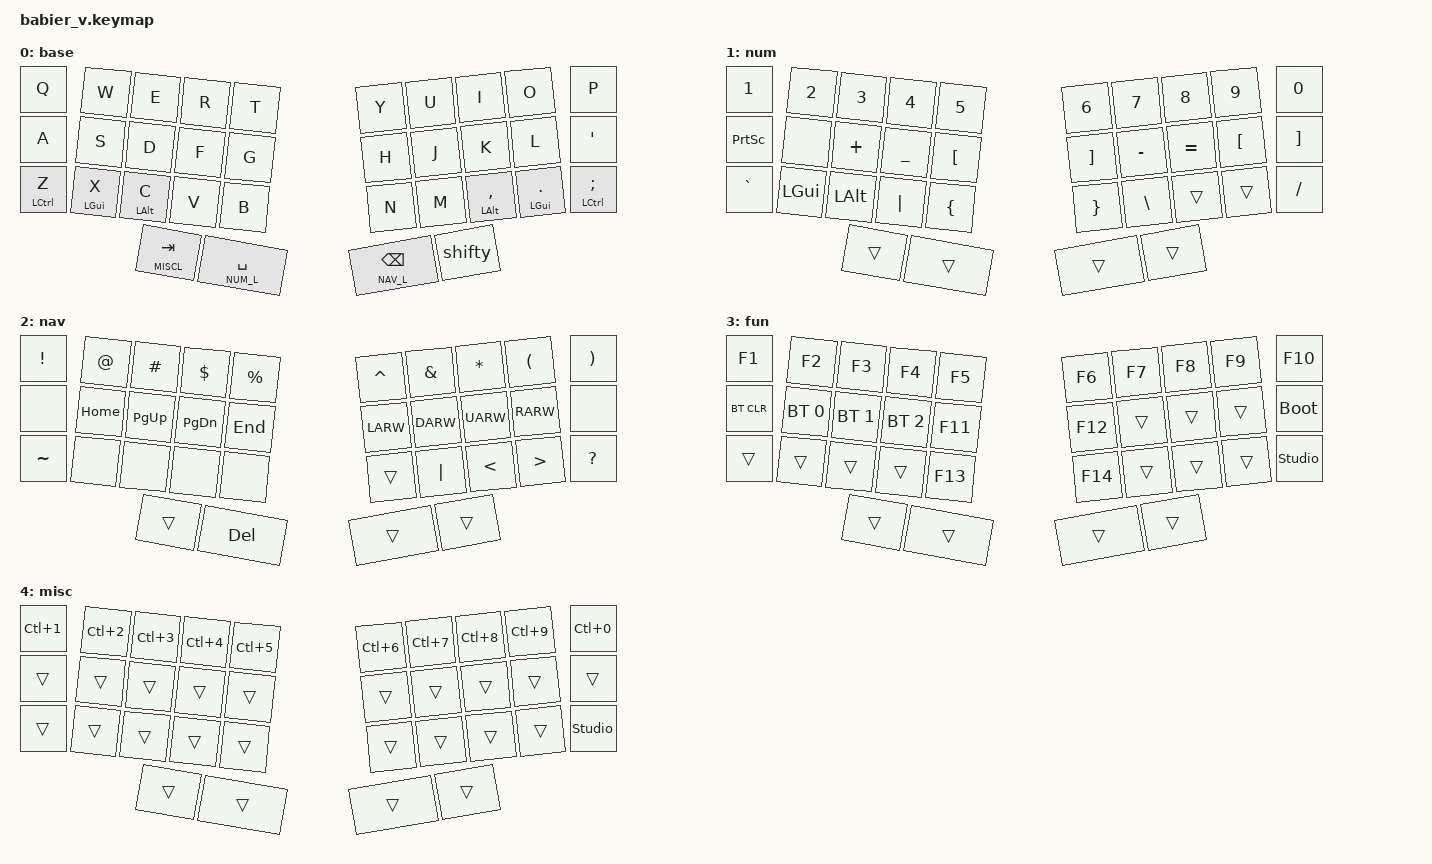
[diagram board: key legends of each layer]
#include <behaviors.dtsi>
#include <dt-bindings/zmk/keys.h>
#include <dt-bindings/zmk/bt.h>
#include <dt-bindings/zmk/outputs.h>

#define NUM_L 1
#define NAV_L 2
#define FUN_L 3
#define MISCL 4

&lt { quick_tap_ms = <200>; };

/ {
    
    tap_dances {
    	shifty: shift_caps_word {
		    compatible = "zmk,behavior-tap-dance";
		    label = "TD_SHIFTY";
		    #binding-cells = <0>;
		    tapping-term-ms = <150>;
		    bindings = <&kp LSHFT>, <&caps_word>;
	    };
    };

    combos {
        compatible = "zmk,combos";
        combo_esc {
            timeout-ms = <50>;
            key-positions = <0 1>;
            bindings = <&kp ESC>;
        };
        combo_enter {
            timeout-ms = <50>;
            key-positions = <17 18>;
            bindings = <&kp RET>;
        };
    };

    behaviors {
        brm: bottom_row_mods {
            compatible = "zmk,behavior-hold-tap";
            #binding-cells = <2>;
            tapping-term-ms = <200>;
            quick-tap-ms = <100>;
            flavor = "balanced";
            require-prior-idle-ms = <100>;
            bindings = <&kp>, <&kp>;
        };
    };

    cond_layers {
      compatible = "zmk,conditional-layers";
	    tri {
	      if-layers = <NUM_L NAV_L>;
	      then-layer = <FUN_L>;
      };
    };

    keymap {
        compatible = "zmk,keymap";

        default_layer { // Layer 0
            label = "base";
            bindings = <
                &kp Q       &kp W       &kp E       &kp R &kp T     &kp Y &kp U &kp I           &kp O         &kp P
                &kp A       &kp S       &kp D       &kp F &kp G     &kp H &kp J &kp K           &kp L         &kp SQT
                &brm LCTL Z &brm LGUI X &brm LALT C &kp V &kp B     &kp N &kp M &brm LALT COMMA &brm LGUI DOT &brm LCTL SEMI
                                  &lt MISCL TAB &lt NUM_L SPACE     &lt NAV_L BKSP &shifty
            >;
        };
        
        num_layer { // Number layer
            label = "num";
            bindings = <
                &kp N1      &kp N2   &kp N3      &kp N4    &kp N5    &kp N6   &kp N7    &kp N8    &kp N9    &kp N0
                &kp PSCRN   &none    &kp PLUS    &kp UNDER &kp LBKT  &kp RBKT &kp MINUS &kp EQUAL &kp LBKT  &kp RBKT
                &kp GRAVE   &kp LGUI &kp LALT   &kp PIPE   &kp LBRC  &kp RBRC &kp BSLH  &trans    &trans    &kp SLASH
                                                 &trans    &trans    &trans   &trans
            >;
        };

        nav_layer { // Navigation and symbol layer
          label = "nav";
          bindings = <
            &kp EXCL   &kp AT   &kp HASH  &kp DLLR  &kp PRCNT  &kp CARET &kp AMPS   &kp STAR  &kp LPAR   &kp RPAR
            &none      &kp HOME &kp PG_UP &kp PG_DN &kp END    &kp LARW  &kp DARW   &kp UARW  &kp RARW  &none
            &kp TILDE  &none    &none     &none     &none      &trans    &kp PIPE   &kp LT    &kp GT     &kp QMARK
                                                 &trans    &kp DEL    &trans   &trans
          >;
        };

        func_layer { // Function layer
          label = "fun";
          bindings = <
            &kp F1  &kp F2  &kp F3  &kp F4  &kp F5  &kp F6  &kp F7  &kp F8  &kp F9  &kp F10
            &bt BT_CLR  &bt BT_SEL 0  &bt BT_SEL 1  &bt BT_SEL 2  &kp F11 &kp F12 &trans  &trans  &trans  &bootloader
            &trans  &trans  &trans  &trans  &kp F13 &kp F14 &trans  &trans  &trans  &studio_unlock
                                    &trans  &trans  &trans  &trans
          >;
        };

        misc_layer { // misc layer
          label = "misc";
          bindings = <
            &kp LC(N1)  &kp LC(N2)  &kp LC(N3)  &kp LC(N4)   &kp LC(N5)   &kp LC(N6)     &kp LC(N7)   &kp LC(N8)  &kp LC(N9)  &kp LC(N0)
            &trans  &trans  &trans  &trans  &trans &trans  &trans  &trans  &trans  &trans
            &trans  &trans  &trans  &trans  &trans &trans  &trans  &trans  &trans  &studio_unlock
                                    &trans  &trans &trans  &trans
          >;
        };
    };
 };
